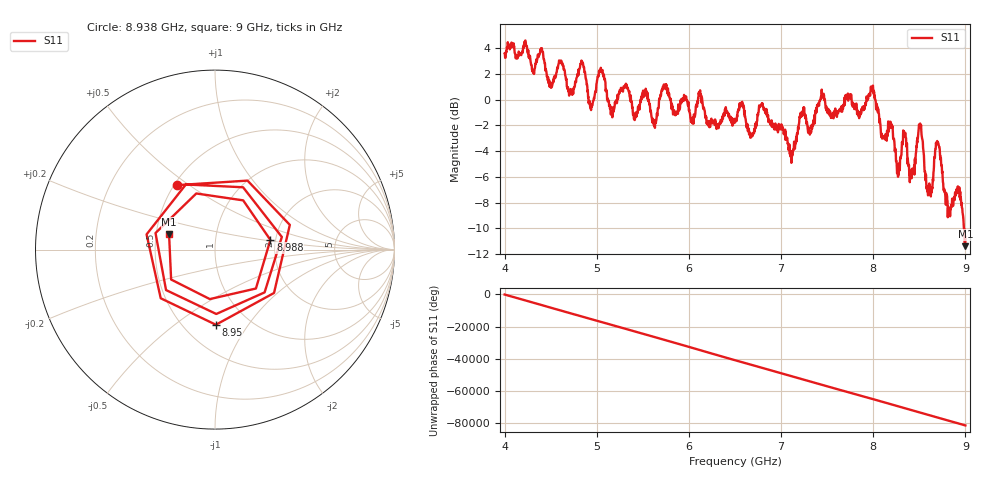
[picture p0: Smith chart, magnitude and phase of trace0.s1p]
! Created with skrf 1.8.0 (http://scikit-rf.org).
# Hz S RI R 50.0
!freq ReS11 ImS11
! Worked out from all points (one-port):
!   1601 points, 4 GHz to 9 GHz, reference 50 ohm
!   lowest |S11| = -11.4 dB at 9 GHz (marker M1), VSWR 1.74, Z = 29.3 + j5.43 ohm
!   |S11| at or under -10 dB: 8.983972 GHz to end of sweep
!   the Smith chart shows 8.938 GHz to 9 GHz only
!   S11 on the Smith chart (normalised r, x): 8.938 GHz: 0.52, +0.45; 8.95 GHz: 0.71, -0.72; 8.988 GHz: 1.88, +0.22; 9 GHz: 0.59, +0.11
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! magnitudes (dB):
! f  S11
! 4 GHz  3.6
! 4.625 GHz  2.8
! 4.719 GHz  0.7
! 4.847 GHz  2.8
! 4.938 GHz  -0.8
! 5.041 GHz  2.2
! 5.159 GHz  -0.9
! 5.25 GHz  0.7
! 5.875 GHz  -1.0
! 6.5 GHz  -1.5
! 6.688 GHz  -2.7
! 6.794 GHz  -0.4
! 7.125 GHz  -4.2
! 7.225 GHz  -1.1
! 7.75 GHz  0.1
! 7.994 GHz  1.0
! 8.262 GHz  -5.0
! 8.334 GHz  -2.8
! 8.375 GHz  -4.6
! 8.422 GHz  -5.5
! 8.509 GHz  -1.9
! 8.6 GHz  -6.7
! 8.697 GHz  -3.4
! 8.812 GHz  -8.5
! 8.938 GHz  -7.6
! 8.95 GHz  -7.6
! 8.988 GHz  -10.1
! 9 GHz  -11.4
